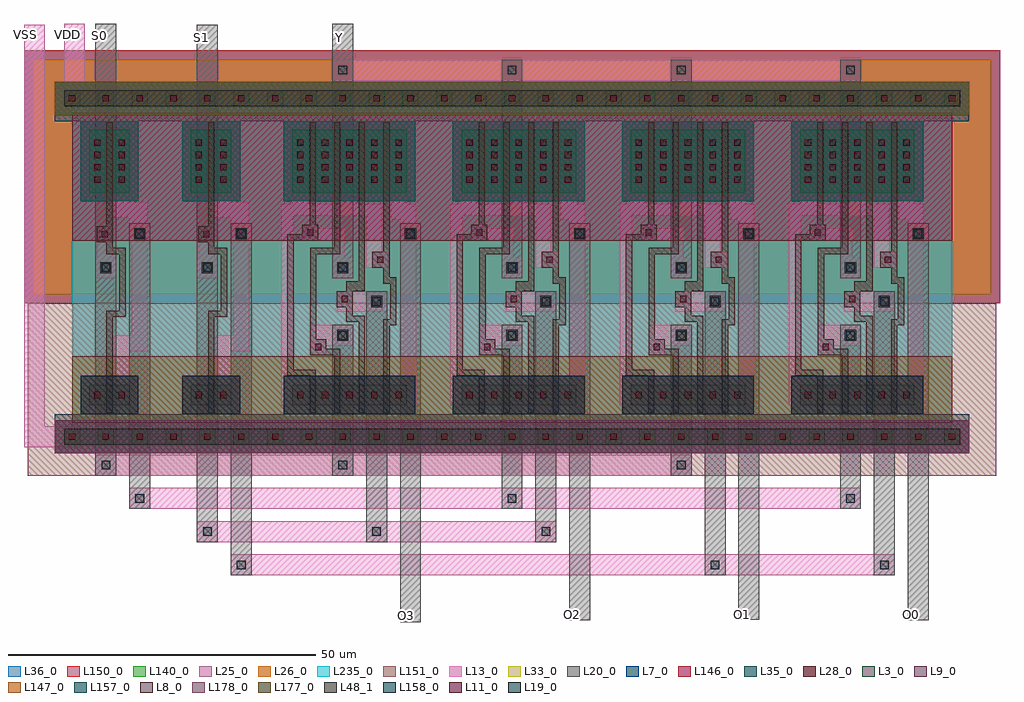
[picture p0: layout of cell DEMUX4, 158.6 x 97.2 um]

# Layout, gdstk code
import gdstk
lib = gdstk.Library(unit=1e-6, precision=1e-07)
def R(c, l, rs):  # rectangles x0, y0, x1, y1
    for r in rs: c.add(gdstk.rectangle(r[:2], r[2:], *l))
def A(c, l, x, y, w, h, nx, ny, dx, dy):  # array of equal rectangles
    R(c, l, [(x+i*dx, y+j*dy, x+i*dx+w, y+j*dy+h) for i in range(nx) for j in range(ny)])
def P(c, l, *ps):  # polygons
    for p in ps: c.add(gdstk.Polygon(p, *l))
L3_0 = (3, 0)
L7_0 = (7, 0)
L8_0 = (8, 0)
L9_0 = (9, 0)
L11_0 = (11, 0)
L13_0 = (13, 0)
L19_0 = (19, 0)
L20_0 = (20, 0)
L25_0 = (25, 0)
L26_0 = (26, 0)
L28_0 = (28, 0)
L33_0 = (33, 0)
L35_0 = (35, 0)
L36_0 = (36, 0)
L48_1 = (48, 1)
L140_0 = (140, 0)
L146_0 = (146, 0)
L147_0 = (147, 0)
L150_0 = (150, 0)
L151_0 = (151, 0)
L157_0 = (157, 0)
L158_0 = (158, 0)
L177_0 = (177, 0)
L178_0 = (178, 0)
L235_0 = (235, 0)

inv_x1 = lib.new_cell('INV_X1')
A(inv_x1, L3_0, -1.3, -1.3, 2.6, 2.6, 4, 2, 5.5, 55)
R(inv_x1, L3_0, [(2.8,5.1,9.4,8.5), (2.8,39.7,9.4,49.9)])
R(inv_x1, L7_0, [(-2.8,-2.7,19.3,2.7)])
P(inv_x1, L7_0, [(1.4,38.3),(1.4,51.3),(-2.8,51.3),(-2.8,57.7),(19.3,57.7),(19.3,51.3),(10.8,51.3),(10.8,38.3)])
P(inv_x1, L8_0, [(5.6,3.9),(5.6,20.5),(7.7,20.5),(7.7,29.7),(5.6,29.7),(5.6,31.6),(4,31.6),(4,34.2),(5.6,34.2),(5.6,51.1),(6.6,51.1),(6.6,30.7),(8.7,30.7),(8.7,19.5),(6.6,19.5),(6.6,3.9)])
R(inv_x1, L9_0, [(1.4,3.7,10.8,9.9), (-2.8,52.3,19.3,57.7)])
A(inv_x1, L11_0, -0.5, -0.5, 1, 1, 4, 2, 5.5, 55)
A(inv_x1, L11_0, 3.6, 41.3, 1, 1, 1, 4, 0, 2)
A(inv_x1, L11_0, 7.6, 41.3, 1, 1, 1, 4, 0, 2)
R(inv_x1, L11_0, [(3.6,6.3,4.6,7.3), (7.6,6.3,8.6,7.3), (4.8,32.4,5.8,33.4)])
P(inv_x1, L13_0, [(-1.3,-1.3),(-1.3,1.3),(2.8,1.3),(2.8,8.5),(5.4,8.5),(5.4,1.3),(17.8,1.3),(17.8,-1.3)],
  [(3.8,25.8),(3.8,29.2),(4,29.2),(4,34.2),(6.6,34.2),(6.6,29.2),(7.2,29.2),(7.2,25.8)],
  [(6.8,5.1),(6.8,16.5),(9.7,16.5),(9.7,31.3),(9.3,31.3),(9.3,35.6),(6.8,35.6),(6.8,49.9),(9.4,49.9),(9.4,38.2),(12.3,38.2),(12.3,34.7),(12.7,34.7),(12.7,31.3),(12.3,31.3),(12.3,13.9),(9.4,13.9),(9.4,5.1)],
  [(2.8,39.7),(2.8,53.7),(-1.3,53.7),(-1.3,56.3),(17.8,56.3),(17.8,53.7),(5.4,53.7),(5.4,39.7)])
R(inv_x1, L25_0, [(-6.3,23.2,22.8,61.3)])
R(inv_x1, L26_0, [(-6.3,23.2,22.8,61.3)])
R(inv_x1, L28_0, [(-2.8,-2.7,19.3,2.7), (1.4,38.3,10.8,51.3)])
P(inv_x1, L33_0, [(-2.8,-2.7),(-2.8,3.7),(1.4,3.7),(1.4,9.9),(10.8,9.9),(10.8,3.7),(19.3,3.7),(19.3,-2.7)],
  [(1.4,38.3),(1.4,51.3),(-2.8,51.3),(-2.8,57.7),(19.3,57.7),(19.3,51.3),(10.8,51.3),(10.8,38.3)])
R(inv_x1, L35_0, [(-2.8,52.3,19.3,57.7)])
P(inv_x1, L35_0, [(-2.8,-2.7),(-2.8,3.7),(1.4,3.7),(1.4,9.9),(10.8,9.9),(10.8,3.7),(19.3,3.7),(19.3,-2.7)])
R(inv_x1, L36_0, [(-7.8,21.7,24.3,62.8)])
R(inv_x1, L48_1, [(-1.3,-1.3,17.8,1.3), (4.6,26.6,6.4,28.4), (10.1,32.1,11.9,33.9), (-1.3,53.7,17.8,56.3)])
R(inv_x1, L140_0, [(-6.3,23.2,22.8,61.3)])
R(inv_x1, L146_0, [(0,31.9,16.5,52.7)])
R(inv_x1, L147_0, [(0,2.3,16.5,13.1)])
R(inv_x1, L150_0, [(-7.8,21.7,24.3,62.8)])
R(inv_x1, L151_0, [(-7.2,-6.3,23.7,21.7)])
R(inv_x1, L157_0, [(1.4,38.3,10.8,51.3)])
R(inv_x1, L158_0, [(1.4,3.7,10.8,9.9)])
R(inv_x1, L177_0, [(-2.8,52.3,19.3,57.7)])
R(inv_x1, L178_0, [(-2.8,-2.7,19.3,2.7)])
R(inv_x1, L235_0, [(0,0,16.5,55)])
inv_x1.add(gdstk.Label('A', (5.5,27.5), layer=48, texttype=0))
inv_x1.add(gdstk.Label('vdd', (0,55), layer=48, texttype=0))
inv_x1.add(gdstk.Label('gnd', (0,0), layer=48, texttype=0))
inv_x1.add(gdstk.Label('Y', (11,33), layer=48, texttype=0))

and3_x1 = lib.new_cell('AND3_X1')
A(and3_x1, L3_0, -1.3, -1.3, 2.6, 2.6, 6, 2, 5.5, 55)
R(and3_x1, L3_0, [(2.8,5.1,21.4,8.5), (2.8,39.7,21.4,49.9)])
R(and3_x1, L7_0, [(-2.8,-2.7,30.3,2.7)])
P(and3_x1, L7_0, [(1.4,38.3),(1.4,51.3),(-2.8,51.3),(-2.8,57.7),(30.3,57.7),(30.3,52.3),(30.2,52.3),(30.2,51.3),(22.8,51.3),(22.8,38.3)])
P(and3_x1, L8_0, [(5.6,3.9),(5.6,9.9),(2,9.9),(2,32.9),(4.4,32.9),(4.4,34.5),(5.6,34.5),(5.6,51.1),(6.6,51.1),(6.6,34.5),(7,34.5),(7,31.9),(3,31.9),(3,10.9),(6.6,10.9),(6.6,3.9)],
  [(9.6,3.9),(9.6,13.3),(5.7,13.3),(5.7,30.7),(9.6,30.7),(9.6,51.1),(10.6,51.1),(10.6,29.7),(6.7,29.7),(6.7,15.9),(8.3,15.9),(8.3,14.3),(10.6,14.3),(10.6,3.9)],
  [(13.6,3.9),(13.6,18.7),(11.6,18.7),(11.6,21.1),(10,21.1),(10,23.7),(11.6,23.7),(11.6,25.3),(13.6,25.3),(13.6,51.1),(14.6,51.1),(14.6,24.3),(12.6,24.3),(12.6,19.7),(14.6,19.7),(14.6,3.9)],
  [(17.6,3.9),(17.6,19.1),(18.7,19.1),(18.7,24.9),(17.6,24.9),(17.6,27.5),(15.8,27.5),(15.8,30.1),(17.6,30.1),(17.6,51.1),(18.6,51.1),(18.6,25.9),(19.7,25.9),(19.7,18.1),(18.6,18.1),(18.6,3.9)])
R(and3_x1, L9_0, [(1.4,3.7,22.8,9.9), (-2.8,52.3,30.3,57.7)])
A(and3_x1, L11_0, -0.5, -0.5, 1, 1, 6, 2, 5.5, 55)
A(and3_x1, L11_0, 3.6, 41.3, 1, 1, 1, 4, 0, 2)
A(and3_x1, L11_0, 19.6, 41.3, 1, 1, 1, 4, 0, 2)
R(and3_x1, L11_0, [(3.6,6.3,4.6,7.3), (7.6,6.3,8.6,7.3), (7.6,6.3,8.6,7.3), (11.6,6.3,12.6,7.3), (11.6,6.3,12.6,7.3), (15.6,6.3,16.6,7.3), (15.6,6.3,16.6,7.3), (19.6,6.3,20.6,7.3), (6.5,14.1,7.5,15.1), (10.8,21.9,11.8,22.9), (16.6,28.3,17.6,29.3), (5.2,32.7,6.2,33.7), (7.6,41.3,8.6,42.3), (7.6,41.3,8.6,42.3), (11.6,41.3,12.6,42.3), (11.6,41.3,12.6,42.3), (15.6,41.3,16.6,42.3), (15.6,41.3,16.6,42.3), (7.6,43.3,8.6,44.3), (7.6,43.3,8.6,44.3), (11.6,43.3,12.6,44.3), (11.6,43.3,12.6,44.3), (15.6,43.3,16.6,44.3), (15.6,43.3,16.6,44.3), (7.6,45.3,8.6,46.3), (7.6,45.3,8.6,46.3), (11.6,45.3,12.6,46.3), (11.6,45.3,12.6,46.3), (15.6,45.3,16.6,46.3), (15.6,45.3,16.6,46.3), (7.6,47.3,8.6,48.3), (7.6,47.3,8.6,48.3), (11.6,47.3,12.6,48.3), (11.6,47.3,12.6,48.3), (15.6,47.3,16.6,48.3), (15.6,47.3,16.6,48.3)])
R(and3_x1, L13_0, [(6.8,5.1,9.4,8.5), (10.8,5.1,13.4,8.5), (10,20.3,18.2,23.7)])
P(and3_x1, L13_0, [(-1.3,-1.3),(-1.3,1.3),(14.8,1.3),(14.8,8.5),(17.4,8.5),(17.4,1.3),(28.8,1.3),(28.8,-1.3)],
  [(5.7,13.3),(5.7,18.2),(12.7,18.2),(12.7,14.8),(8.3,14.8),(8.3,13.3)],
  [(9.3,25.8),(9.3,31.9),(4.4,31.9),(4.4,34.5),(7,34.5),(7,33.9),(11.3,33.9),(11.3,29.2),(12.7,29.2),(12.7,25.8)],
  [(1,5.1),(1,37.9),(2.8,37.9),(2.8,49.9),(5.4,49.9),(5.4,37.9),(10.8,37.9),(10.8,49.9),(13.4,49.9),(13.4,37.9),(17.4,37.9),(17.4,30.1),(18.4,30.1),(18.4,27.5),(14.8,27.5),(14.8,35.9),(3,35.9),(3,8.5),(5.4,8.5),(5.4,5.1)],
  [(18.8,5.1),(18.8,8.5),(20.3,8.5),(20.3,35.3),(18.8,35.3),(18.8,49.9),(21.4,49.9),(21.4,37.9),(22.9,37.9),(22.9,34.7),(23.7,34.7),(23.7,31.3),(22.9,31.3),(22.9,5.1)],
  [(6.8,39.7),(6.8,53.7),(-1.3,53.7),(-1.3,56.3),(28.8,56.3),(28.8,53.7),(17.4,53.7),(17.4,39.7),(14.8,39.7),(14.8,53.7),(9.4,53.7),(9.4,39.7)])
R(and3_x1, L25_0, [(-6.3,23.2,33.8,61.3)])
R(and3_x1, L26_0, [(-6.3,23.2,33.8,61.3)])
R(and3_x1, L28_0, [(-2.8,-2.7,30.3,2.7), (1.4,38.3,22.8,51.3)])
P(and3_x1, L33_0, [(-2.8,-2.7),(-2.8,3.7),(1.4,3.7),(1.4,9.9),(22.8,9.9),(22.8,3.7),(30.3,3.7),(30.3,-2.7)],
  [(1.4,38.3),(1.4,51.3),(-2.8,51.3),(-2.8,57.7),(30.3,57.7),(30.3,52.3),(30.2,52.3),(30.2,51.3),(22.8,51.3),(22.8,38.3)])
R(and3_x1, L35_0, [(-2.8,52.3,30.3,57.7)])
P(and3_x1, L35_0, [(-2.8,-2.7),(-2.8,3.7),(1.4,3.7),(1.4,9.9),(22.8,9.9),(22.8,3.7),(30.3,3.7),(30.3,-2.7)])
R(and3_x1, L36_0, [(-7.8,21.7,35.3,62.8)])
R(and3_x1, L48_1, [(-1.3,-1.3,28.8,1.3), (10.1,15.6,11.9,17.4), (15.6,21.1,17.4,22.9), (10.1,26.6,11.9,28.4), (21.1,32.1,22.9,33.9), (-1.3,53.7,28.8,56.3)])
R(and3_x1, L140_0, [(-6.3,23.2,33.8,61.3)])
R(and3_x1, L146_0, [(0,31.9,27.5,52.7)])
R(and3_x1, L147_0, [(0,2.3,27.5,13.1)])
R(and3_x1, L150_0, [(-7.8,21.7,35.3,62.8)])
R(and3_x1, L151_0, [(-7.2,-6.3,34.7,21.7)])
R(and3_x1, L157_0, [(1.4,38.3,22.8,51.3)])
R(and3_x1, L158_0, [(1.4,3.7,22.8,9.9)])
R(and3_x1, L177_0, [(-2.8,52.3,30.3,57.7)])
R(and3_x1, L178_0, [(-2.8,-2.7,30.3,2.7)])
R(and3_x1, L235_0, [(0,0,27.5,55)])
and3_x1.add(gdstk.Label('vdd', (0,55), layer=48, texttype=0))
and3_x1.add(gdstk.Label('gnd', (0,0), layer=48, texttype=0))
and3_x1.add(gdstk.Label('Y', (22,33), layer=48, texttype=0))
and3_x1.add(gdstk.Label('A', (11,27.5), layer=48, texttype=0))
and3_x1.add(gdstk.Label('C', (16.5,22), layer=48, texttype=0))
and3_x1.add(gdstk.Label('B', (11,16.5), layer=48, texttype=0))

via = lib.new_cell('Via')
R(via, L13_0, [(-1.7,-1.7,1.7,1.7)])
R(via, L19_0, [(-0.7,-0.7,0.7,0.7)])
R(via, L20_0, [(-1.7,-1.7,1.7,1.7)])

demux4 = lib.new_cell('DEMUX4')
A(demux4, L8_0, 45.6, 23.7, 2, 0.6, 4, 1, 27.5, 0)
demux4.add(gdstk.FlexPath([(3.8,-4.6),(100.7,-4.6)], 3.4, ends="flush", simple_path=True, layer=13, datatype=0))  # L13_0
demux4.add(gdstk.FlexPath([(20.3,-15.4),(78.7,-15.4)], 3.4, ends="flush", simple_path=True, layer=13, datatype=0))  # L13_0
demux4.add(gdstk.FlexPath([(128.2,59.6),(42.3,59.6)], 3.4, ends="flush", simple_path=True, layer=13, datatype=0))  # L13_0
demux4.add(gdstk.FlexPath([(9.3,-10),(128.2,-10)], 3.4, ends="flush", simple_path=True, layer=13, datatype=0))  # L13_0
demux4.add(gdstk.FlexPath([(25.8,-20.8),(133.7,-20.8)], 3.4, ends="flush", simple_path=True, layer=13, datatype=0))  # L13_0
demux4.add(gdstk.FlexPath([(0.4,53.7),(0.4,67.1)], 3.4, ends="flush", simple_path=True, layer=13, datatype=0))  # L13_0
demux4.add(gdstk.FlexPath([(1.3,0),(-6.1,0),(-6.1,67)], 3.4, ends="flush", simple_path=True, layer=13, datatype=0))  # L13_0
demux4.add(gdstk.FlexPath([(71.5,18.2),(71.5,-11.7)], 3.4, ends="flush", simple_path=True, layer=20, datatype=0))  # L20_0
demux4.add(gdstk.FlexPath([(77,23.7),(77,-17.1)], 3.4, ends="flush", simple_path=True, layer=20, datatype=0))  # L20_0
demux4.add(gdstk.FlexPath([(99,18.2),(99,-6.3)], 3.4, ends="flush", simple_path=True, layer=20, datatype=0))  # L20_0
demux4.add(gdstk.FlexPath([(104.5,23.7),(104.5,-22.5)], 3.4, ends="flush", simple_path=True, layer=20, datatype=0))  # L20_0
demux4.add(gdstk.FlexPath([(5.5,25.8),(5.5,67.1)], 3.4, ends="flush", simple_path=True, layer=20, datatype=0))  # L20_0
demux4.add(gdstk.FlexPath([(22,25.8),(22,67)], 3.4, ends="flush", simple_path=True, layer=20, datatype=0))  # L20_0
demux4.add(gdstk.FlexPath([(55,34.7),(55,-30.1)], 3.4, ends="flush", simple_path=True, layer=20, datatype=0))  # L20_0
demux4.add(gdstk.FlexPath([(82.5,34.7),(82.5,-29.8)], 3.4, ends="flush", simple_path=True, layer=20, datatype=0))  # L20_0
demux4.add(gdstk.FlexPath([(110,34.7),(110,-29.7)], 3.4, ends="flush", simple_path=True, layer=20, datatype=0))  # L20_0
demux4.add(gdstk.FlexPath([(137.5,34.7),(137.5,-29.8)], 3.4, ends="flush", simple_path=True, layer=20, datatype=0))  # L20_0
demux4.add(gdstk.FlexPath([(44,25.8),(44,67.1)], 3.4, ends="flush", simple_path=True, layer=20, datatype=0))  # L20_0
demux4.add(gdstk.FlexPath([(71.5,25.8),(71.5,61.3)], 3.4, ends="flush", simple_path=True, layer=20, datatype=0))  # L20_0
demux4.add(gdstk.FlexPath([(99,25.8),(99,61.3)], 3.4, ends="flush", simple_path=True, layer=20, datatype=0))  # L20_0
demux4.add(gdstk.FlexPath([(126.5,25.8),(126.5,61.3)], 3.4, ends="flush", simple_path=True, layer=20, datatype=0))  # L20_0
demux4.add(gdstk.FlexPath([(44,18.2),(44,-6.3)], 3.4, ends="flush", simple_path=True, layer=20, datatype=0))  # L20_0
demux4.add(gdstk.FlexPath([(49.5,23.7),(49.5,-17.1)], 3.4, ends="flush", simple_path=True, layer=20, datatype=0))  # L20_0
demux4.add(gdstk.FlexPath([(11,34.7),(11,-11.7)], 3.4, ends="flush", simple_path=True, layer=20, datatype=0))  # L20_0
demux4.add(gdstk.FlexPath([(27.5,34.7),(27.5,-22.5)], 3.4, ends="flush", simple_path=True, layer=20, datatype=0))  # L20_0
demux4.add(gdstk.FlexPath([(126.5,18.2),(126.5,-11.7)], 3.4, ends="flush", simple_path=True, layer=20, datatype=0))  # L20_0
demux4.add(gdstk.FlexPath([(132,23.7),(132,-22.5)], 3.4, ends="flush", simple_path=True, layer=20, datatype=0))  # L20_0
demux4.add(gdstk.FlexPath([(5.5,29.2),(5.5,-6.3)], 3.4, ends="flush", simple_path=True, layer=20, datatype=0))  # L20_0
demux4.add(gdstk.FlexPath([(22,29.2),(22,-17.1)], 3.4, ends="flush", simple_path=True, layer=20, datatype=0))  # L20_0
demux4.add(gdstk.Reference(inv_x1, (0,0)))
demux4.add(gdstk.Reference(inv_x1, (16.5,0)))
demux4.add(gdstk.Reference(and3_x1, (33,0)))
demux4.add(gdstk.Reference(and3_x1, (60.5,0)))
demux4.add(gdstk.Reference(and3_x1, (88,0)))
demux4.add(gdstk.Reference(and3_x1, (115.5,0)))
demux4.add(gdstk.Reference(via, (5.5,27.5)))
demux4.add(gdstk.Reference(via, (11,33)))
demux4.add(gdstk.Reference(via, (22,27.5)))
demux4.add(gdstk.Reference(via, (27.5,33)))
demux4.add(gdstk.Reference(via, (44,27.5)))
demux4.add(gdstk.Reference(via, (44,16.5)))
demux4.add(gdstk.Reference(via, (49.5,22)))
demux4.add(gdstk.Reference(via, (55,33)))
demux4.add(gdstk.Reference(via, (71.5,27.5)))
demux4.add(gdstk.Reference(via, (71.5,16.5)))
demux4.add(gdstk.Reference(via, (77,22)))
demux4.add(gdstk.Reference(via, (82.5,33)))
demux4.add(gdstk.Reference(via, (99,27.5)))
demux4.add(gdstk.Reference(via, (99,16.5)))
demux4.add(gdstk.Reference(via, (104.5,22)))
demux4.add(gdstk.Reference(via, (110,33)))
demux4.add(gdstk.Reference(via, (126.5,27.5)))
demux4.add(gdstk.Reference(via, (126.5,16.5)))
demux4.add(gdstk.Reference(via, (132,22)))
demux4.add(gdstk.Reference(via, (137.5,33)))
demux4.add(gdstk.Reference(via, (44,59.6)))
demux4.add(gdstk.Reference(via, (71.5,59.6)))
demux4.add(gdstk.Reference(via, (99,59.6)))
demux4.add(gdstk.Reference(via, (126.5,59.6)))
demux4.add(gdstk.Reference(via, (22,-15.4)))
demux4.add(gdstk.Reference(via, (11,-10)))
demux4.add(gdstk.Reference(via, (5.5,-4.6)))
demux4.add(gdstk.Reference(via, (71.5,-10)))
demux4.add(gdstk.Reference(via, (44,-4.6)))
demux4.add(gdstk.Reference(via, (99,-4.6)))
demux4.add(gdstk.Reference(via, (126.5,-10)))
demux4.add(gdstk.Reference(via, (49.5,-15.4)))
demux4.add(gdstk.Reference(via, (77,-15.4)))
demux4.add(gdstk.Reference(via, (27.5,-20.8)))
demux4.add(gdstk.Reference(via, (104.5,-20.8)))
demux4.add(gdstk.Reference(via, (132,-20.8)))
demux4.add(gdstk.Label('VDD', (-0.7,65.4), layer=13, texttype=0))
demux4.add(gdstk.Label('VSS', (-7.5,65.4), layer=13, texttype=0))
demux4.add(gdstk.Label('S0', (4.4,65.2), layer=20, texttype=0))
demux4.add(gdstk.Label('S1', (21,64.9), layer=20, texttype=0))
demux4.add(gdstk.Label('Y', (43.4,64.9), layer=20, texttype=0))
demux4.add(gdstk.Label('O3', (54.4,-29), layer=20, texttype=0))
demux4.add(gdstk.Label('O2', (81.4,-28.9), layer=20, texttype=0))
demux4.add(gdstk.Label('O1', (109,-28.9), layer=20, texttype=0))
demux4.add(gdstk.Label('O0', (136.4,-28.8), layer=20, texttype=0))

lib.write_gds('DEMUX4.gds')
